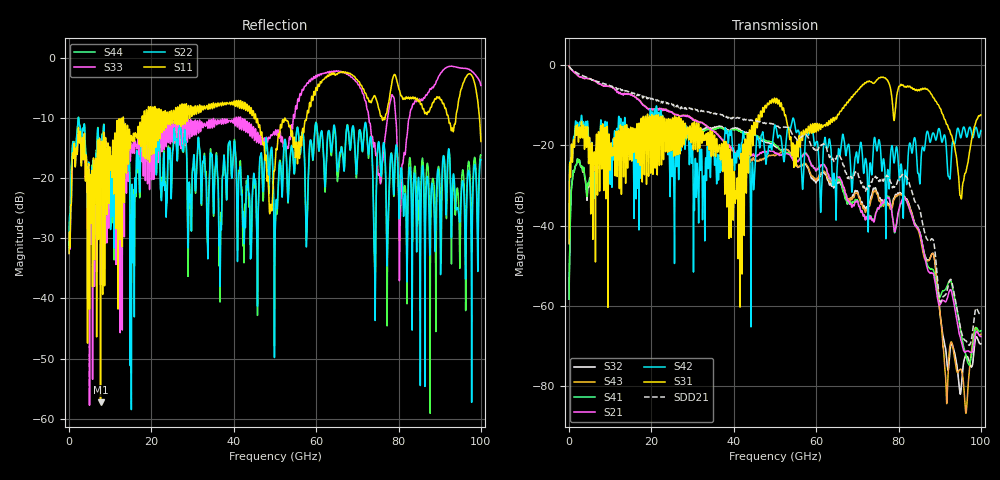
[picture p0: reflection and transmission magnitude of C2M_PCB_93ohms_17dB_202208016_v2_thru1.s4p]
! Info: Touchstone file created by Circ.  Input file=Intel_C2M_200G_5p5in_202208016_staggered.circ
# Hz S RI R 50
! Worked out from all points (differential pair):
!   10000 points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, 10 MHz to 100 GHz, reference 50 ohm
!   strongest paths, dB at 10 MHz, 25.01 GHz, 50.01 GHz, 75.01 GHz, 100 GHz:
!     S31: -44.5, -16.2, -8.6, -3.4, -12.4
!     S42: -44.5, -27.2, -14.9, -19.8, -16.3
!     S21: -0.2, -11.7, -22.0, -35.6, -67.7
!     S41: -58.3, -18.4, -19.8, -35.5, -66.3
!     S43: -0.2, -11.7, -22.5, -32.6, -67.1
!     S32: -58.3, -18.2, -20.2, -32.1, -69.5
!   taken as a pair (ports 1,3 in; 2,4 out), SDD21 dB: -0.2, -9.8, -15.1, -28.2, -62.1
!   lowest |S11| = -57.3 dB at 7.64 GHz (marker M1), VSWR 1.00, Z = 49.9 - j0.121 ohm
!   |S11| at or under -10 dB: start of sweep to 13.13 GHz; 13.19 GHz to 17.74 GHz (4.548 GHz wide, 29.4 % of centre); 45.36 GHz to 57.68 GHz (12.32 GHz wide, 23.9 % of centre)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
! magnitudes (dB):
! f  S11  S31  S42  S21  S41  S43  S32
! 10 MHz  -32.6  -44.5  -44.5  -0.2  -58.3  -0.2  -58.3
! 1.33 GHz  -15.2  -20.1  -17.6  -1.8  -25.9  -1.8  -26.0
! 7.64 GHz  -57.3  -15.3  -14.5  -4.7  -20.7  -4.7  -20.5
! 65.2 GHz  -2.7  -12.3  -23.8  -27.9  -28.4  -28.8  -29.3
! 80.69 GHz  -6.4  -4.8  -24.9  -34.1  -34.3  -32.4  -32.1
! 91.6 GHz  -8.8  -14.6  -20.5  -58.8  -55.6  -82.2  -72.3
! 100 GHz  -13.9  -12.4  -16.3  -67.7  -66.3  -67.1  -69.5
